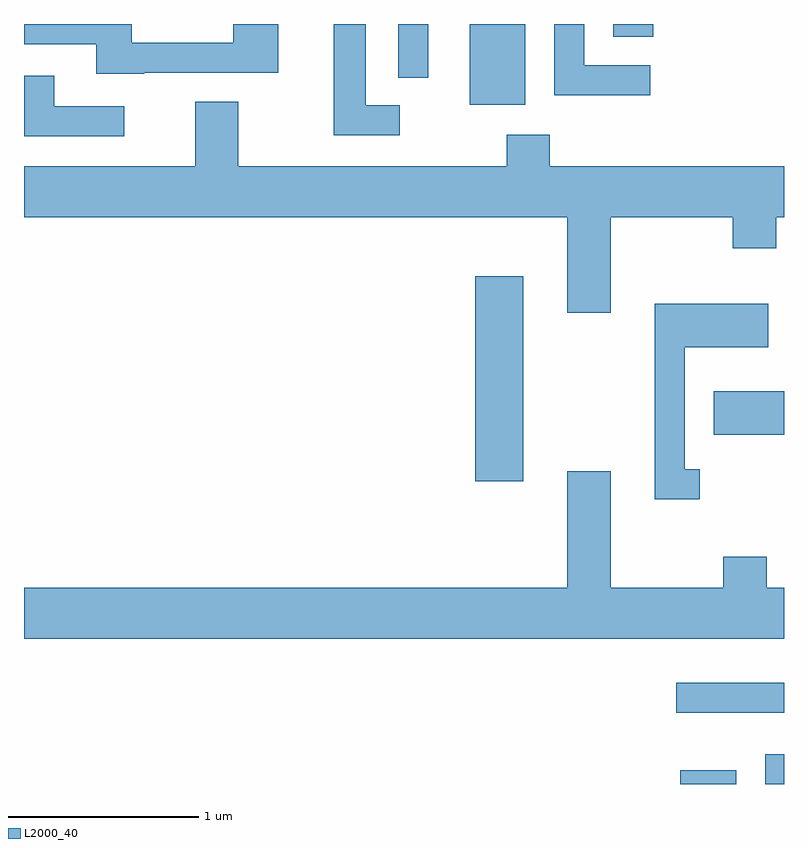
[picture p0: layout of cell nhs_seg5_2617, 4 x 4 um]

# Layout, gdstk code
import gdstk
lib = gdstk.Library(unit=1e-6, precision=1e-09)
def R(c, l, rs):  # rectangles x0, y0, x1, y1
    for r in rs: c.add(gdstk.rectangle(r[:2], r[2:], *l))
def P(c, l, *ps):  # polygons
    for p in ps: c.add(gdstk.Polygon(p, *l))
L2000_40 = (2000, 40)

nhs_seg5_2617 = lib.new_cell('nhs_seg5_2617')
R(nhs_seg5_2617, L2000_40, [(267.066,1416.072,267.359,1416.144), (267.511,1416.072,267.611,1416.229), (267.043,1416.446,267.611,1416.604), (265.986,1417.666,266.239,1418.744), (267.241,1417.911,267.611,1418.139), (265.956,1419.646,266.249,1420.072), (265.581,1419.788,265.739,1420.072), (266.711,1420.006,266.924,1420.072)])
P(nhs_seg5_2617, L2000_40, [(264.245,1419.816),(264.949,1419.816),(264.949,1420.072),(264.711,1420.072),(264.711,1419.974),(264.179,1419.974),(264.179,1420.072),(263.611,1420.072),(263.611,1419.966),(263.991,1419.966),(263.991,1419.811),(264.245,1419.811)],
  [(266.908,1419.854),(266.559,1419.854),(266.559,1420.072),(266.401,1420.072),(266.401,1419.696),(266.908,1419.696)],
  [(265.588,1419.644),(265.409,1419.644),(265.409,1420.072),(265.241,1420.072),(265.241,1419.486),(265.588,1419.486)],
  [(264.138,1419.639),(263.769,1419.639),(263.769,1419.799),(263.611,1419.799),(263.611,1419.481),(264.138,1419.481)],
  [(266.699,1419.056),(267.341,1419.056),(267.341,1418.891),(267.569,1418.891),(267.569,1419.056),(267.611,1419.056),(267.611,1419.324),(266.379,1419.324),(266.379,1419.489),(266.151,1419.489),(266.151,1419.324),(264.739,1419.324),(264.739,1419.664),(264.511,1419.664),(264.511,1419.324),(263.611,1419.324),(263.611,1419.056),(266.471,1419.056),(266.471,1418.551),(266.699,1418.551)],
  [(267.168,1417.729),(267.089,1417.729),(267.089,1418.371),(267.529,1418.371),(267.529,1418.599),(266.931,1418.599),(266.931,1417.571),(267.168,1417.571)],
  [(267.611,1417.104),(267.519,1417.104),(267.519,1417.269),(267.291,1417.269),(267.291,1417.104),(266.699,1417.104),(266.699,1417.719),(266.471,1417.719),(266.471,1417.104),(263.611,1417.104),(263.611,1416.836),(267.611,1416.836)])

lib.write_gds('nhs_seg5_2617.gds')
